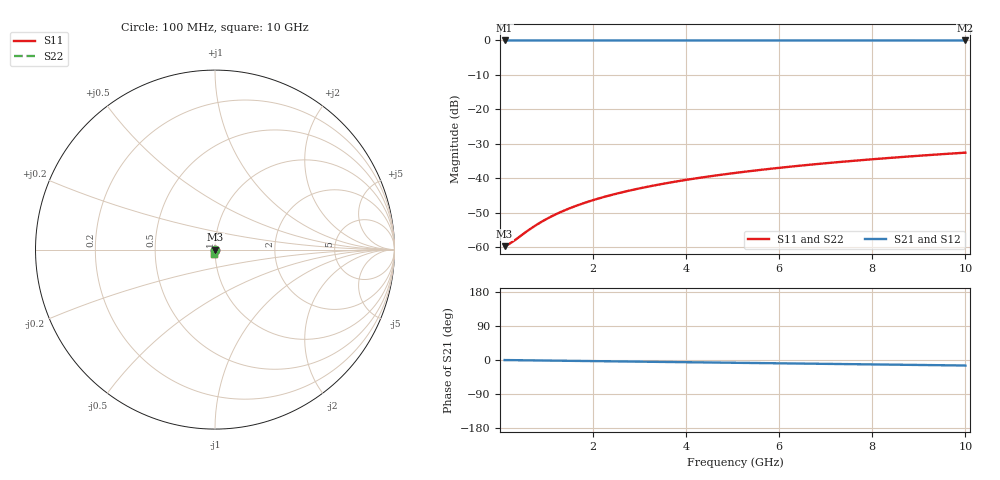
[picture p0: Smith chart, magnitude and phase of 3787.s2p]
# Hz S RI R 50.00
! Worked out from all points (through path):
!   100 points, 100 MHz to 10 GHz, reference 50 ohm
!   highest |S21| = -0.01 dB at 100 MHz (marker M1); lowest = 0.0 dB at 10 GHz (marker M2)
!   group delay of S21, straight-line fit = 4.04 ps
!   lowest |S11| = -59.6 dB at 100 MHz (marker M3), VSWR 1.00, Z = 50.1 - j0.024 ohm
!   |S11| at or under -10 dB: start of sweep to end of sweep
!   |S22| runs from -59.6 to -32.5 dB; largest |S21 - S12| = 0
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1e8  0.00102 -0.000239  0.999 -0.00253  0.999 -0.00253  0.00102 -0.000239
2e8  0.00102 -0.000478  0.999 -0.00506  0.999 -0.00506  0.00102 -0.000478
3e8  0.00102 -0.000718  0.9989 -0.00759  0.9989 -0.00759  0.00102 -0.000718
6e8  0.00101 -0.00144  0.9988 -0.0152  0.9988 -0.0152  0.00101 -0.00144
7e8  0.00101 -0.00167  0.9988 -0.0177  0.9988 -0.0177  0.00101 -0.00167
8e8  0.000998 -0.00191  0.9987 -0.0202  0.9987 -0.0202  0.000998 -0.00191
1e9  0.000978 -0.00239  0.9986 -0.0253  0.9986 -0.0253  0.000978 -0.00239
1.2e9  0.000953 -0.00287  0.9985 -0.0304  0.9985 -0.0304  0.000953 -0.00287
1.4e9  0.000923 -0.00335  0.9983 -0.0354  0.9983 -0.0354  0.000923 -0.00335
1.6e9  0.000888 -0.00383  0.9981 -0.0405  0.9981 -0.0405  0.000888 -0.00383
1.8e9  0.000848 -0.0043  0.9979 -0.0455  0.9979 -0.0455  0.000848 -0.0043
2.1e9  0.000778 -0.00502  0.9975 -0.0531  0.9975 -0.0531  0.000778 -0.00502
2.5e9  0.000668 -0.00597  0.9969 -0.0632  0.9969 -0.0632  0.000668 -0.00597
2.9e9  0.000539 -0.00693  0.9962 -0.0733  0.9962 -0.0733  0.000539 -0.00693
3.4e9  0.000349 -0.00811  0.9951 -0.086  0.9951 -0.086  0.000349 -0.00811
4.2e9  -1.77e-05 -0.01  0.9931 -0.1061  0.9931 -0.1061  -1.77e-05 -0.01
5.1e9  -0.000522 -0.0121  0.9904 -0.1288  0.9904 -0.1288  -0.000522 -0.0121
5.9e9  -0.00105 -0.014  0.9875 -0.1489  0.9875 -0.1489  -0.00105 -0.014
6.7e9  -0.00166 -0.0158  0.9843 -0.1689  0.9843 -0.1689  -0.00166 -0.0158
7.5e9  -0.00234 -0.0176  0.9806 -0.1889  0.9806 -0.1889  -0.00234 -0.0176
8.4e9  -0.00319 -0.0197  0.9759 -0.2113  0.9759 -0.2113  -0.00319 -0.0197
1e10  -0.00493 -0.0231  0.9664 -0.2509  0.9664 -0.2509  -0.00493 -0.0231
